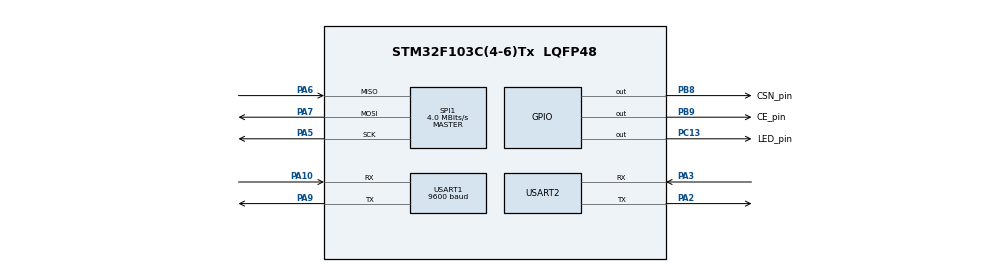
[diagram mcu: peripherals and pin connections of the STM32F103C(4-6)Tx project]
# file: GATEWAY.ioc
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Mcu.Family=STM32F1
Mcu.Name=STM32F103C(4-6)Tx
Mcu.Package=LQFP48
NVIC.PriorityGroup=NVIC_PRIORITYGROUP_4
NVIC.USART1_IRQn=true\:0\:0\:false\:false\:true\:true\:true\:true
PA10.Mode=Asynchronous
PA10.Signal=USART1_RX
PA2.Mode=Asynchronous
PA2.Signal=USART2_TX
PA3.Mode=Asynchronous
PA3.Signal=USART2_RX
PA5.Mode=Full_Duplex_Master
PA5.Signal=SPI1_SCK
PA6.Mode=Full_Duplex_Master
PA6.Signal=SPI1_MISO
PA7.Mode=Full_Duplex_Master
PA7.Signal=SPI1_MOSI
PA9.Mode=Asynchronous
PA9.Signal=USART1_TX
PB8.GPIO_Label=CSN_pin
PB8.Signal=GPIO_Output
PB9.GPIO_Label=CE_pin
PB9.Signal=GPIO_Output
PC13-TAMPER-RTC.GPIO_Label=LED_pin
PC13-TAMPER-RTC.Signal=GPIO_Output
ProjectManager.HeapSize=0x200
ProjectManager.StackSize=0x400
ProjectManager.TargetToolchain=STM32CubeIDE
RCC.APB1Freq_Value=8000000
RCC.APB2Freq_Value=8000000
SPI1.CalculateBaudRate=4.0 MBits/s
SPI1.Direction=SPI_DIRECTION_2LINES
SPI1.Mode=SPI_MODE_MASTER
SPI1.VirtualType=VM_MASTER
USART1.BaudRate=9600
USART1.VirtualMode=VM_ASYNC
USART2.VirtualMode=VM_ASYNC
board=custom

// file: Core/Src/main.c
/* USER CODE BEGIN Header */
//huart1 PA9,10is the debug port OF NRF, huart2 PA2,3is the server port
/**
 ******************************************************************************
 * @file           : main.c
 * @brief          : Main program body
 ******************************************************************************
 * @attention
 *
 * Copyright (c) 2023 STMicroelectronics.
 * All rights reserved.
 *
 * This software is licensed under terms that can be found in the LICENSE file
 * in the root directory of this software component.
 * If no LICENSE file comes with this software, it is provided AS-IS.
 *
 ******************************************************************************
 */
/* USER CODE END Header */
#include "main.h"

/* USER CODE BEGIN Includes */
#include "MY_NRF24.h"
#include "utility.h"
/* USER CODE END Includes */

SPI_HandleTypeDef hspi1;

UART_HandleTypeDef huart1;
UART_HandleTypeDef huart2;

void SystemClock_Config(void);
static void MX_GPIO_Init(void);
static void MX_SPI1_Init(void);
static void MX_USART2_UART_Init(void);
static void MX_USART1_UART_Init(void);
/* USER CODE BEGIN PFP */
void Gateway_NRF_Init(void);
void Switch_To_Tx_Mode(void);
void Switch_To_Rx_Mode(void);
void Transmit_Server_Msg_To_Node(void);
void Switch_to_Transmitt_mode(uint64_t);
void Transmitt_srvr_msg_to_node(void);
void Switch_to_Receiver_mode(void);
void process_received_data_from_node(void);
void process_data_rcvd_frm_srvr(void);
void check_id_for_tx_mode();
/* USER CODE END PFP */

/* USER CODE BEGIN 0 */
uint64_t pipe_addr = 0x11223344AA;
char received_data_from_nodes[50];
char trimmed_data_received_from_node[6];
char node_id[4];
char node_status[2];

//////**handle server**////////
uint8_t received_data_from_srvr[32];
uint64_t pip_add_for_data_tx;
char trimmed_data_rcvd_from_srvr[6];
char node_id_drom_srvr[4];
char node_status_from_srvr[2];
uint64_t n_add_1 = 0x11223344AB;
uint64_t n_add_2 = 0x11223344BB;
bool data_avlbl_frm_srvr = false;
uint8_t zunk_data[30];
/* USER CODE END 0 */

int main(void)
{

  /* MCU Configuration--------------------------------------------------------*/

  /* Reset of all peripherals, Initializes the Flash interface and the Systick. */
  HAL_Init();

  /* Configure the system clock */
  SystemClock_Config();

  /* Initialize all configured peripherals */
  MX_GPIO_Init();
  MX_SPI1_Init();
  MX_USART2_UART_Init();
  MX_USART1_UART_Init();
  /* USER CODE BEGIN 2 */
  Gateway_NRF_Init();
  HAL_UART_Receive_IT(&huart1, received_data_from_srvr, 5);
  /* USER CODE END 2 */

  /* Infinite loop */
  /* USER CODE BEGIN WHILE */
	HAL_GPIO_WritePin(GPIOC, GPIO_PIN_13, 1);
	while (1) {
    /* USER CODE END WHILE */

    /* USER CODE BEGIN 3 */
		if (NRF24_available()) {
			HAL_Delay(10);
			process_received_data_from_node();
			//and send data to server
			HAL_Delay(50);
		}
		if(data_avlbl_frm_srvr){

			HAL_UART_Receive_IT(&huart1, received_data_from_srvr, 5);
			//check the id, and pass pipe address to transmitt mode accordingly
			HAL_UART_Transmit(&huart2, (uint8_t*)"msg received from server ::> ", strlen("msg received from server ::> "), 10);
			HAL_UART_Transmit(&huart2, received_data_from_srvr, 32, 10);
			process_data_rcvd_frm_srvr();
			check_id_for_tx_mode();
			Switch_to_Transmitt_mode(pip_add_for_data_tx);
			Transmitt_srvr_msg_to_node();
			Switch_to_Receiver_mode();
			data_avlbl_frm_srvr = 0;
			memset(received_data_from_srvr, 0, sizeof(received_data_from_srvr));
		}
		HAL_GPIO_TogglePin(LED_pin_GPIO_Port, LED_pin_Pin);
		HAL_Delay(100);
	}
  /* USER CODE END 3 */
}

void SystemClock_Config(void)
{
  RCC_OscInitTypeDef RCC_OscInitStruct = {0};
  RCC_ClkInitTypeDef RCC_ClkInitStruct = {0};

  /** Initializes the RCC Oscillators according to the specified parameters
  * in the RCC_OscInitTypeDef structure.
  */
  RCC_OscInitStruct.OscillatorType = RCC_OSCILLATORTYPE_HSI;
  RCC_OscInitStruct.HSIState = RCC_HSI_ON;
  RCC_OscInitStruct.HSICalibrationValue = RCC_HSICALIBRATION_DEFAULT;
  RCC_OscInitStruct.PLL.PLLState = RCC_PLL_NONE;
  if (HAL_RCC_OscConfig(&RCC_OscInitStruct) != HAL_OK)
  {
    Error_Handler();
  }

  /** Initializes the CPU, AHB and APB buses clocks
  */
  RCC_ClkInitStruct.ClockType = RCC_CLOCKTYPE_HCLK|RCC_CLOCKTYPE_SYSCLK
                              |RCC_CLOCKTYPE_PCLK1|RCC_CLOCKTYPE_PCLK2;
  RCC_ClkInitStruct.SYSCLKSource = RCC_SYSCLKSOURCE_HSI;
  RCC_ClkInitStruct.AHBCLKDivider = RCC_SYSCLK_DIV1;
  RCC_ClkInitStruct.APB1CLKDivider = RCC_HCLK_DIV1;
  RCC_ClkInitStruct.APB2CLKDivider = RCC_HCLK_DIV1;

  if (HAL_RCC_ClockConfig(&RCC_ClkInitStruct, FLASH_LATENCY_0) != HAL_OK)
  {
    Error_Handler();
  }
}

static void MX_SPI1_Init(void)
{

  /* SPI1 parameter configuration*/
  hspi1.Instance = SPI1;
  hspi1.Init.Mode = SPI_MODE_MASTER;
  hspi1.Init.Direction = SPI_DIRECTION_2LINES;
  hspi1.Init.DataSize = SPI_DATASIZE_8BIT;
  hspi1.Init.CLKPolarity = SPI_POLARITY_LOW;
  hspi1.Init.CLKPhase = SPI_PHASE_1EDGE;
  hspi1.Init.NSS = SPI_NSS_SOFT;
  hspi1.Init.BaudRatePrescaler = SPI_BAUDRATEPRESCALER_2;
  hspi1.Init.FirstBit = SPI_FIRSTBIT_MSB;
  hspi1.Init.TIMode = SPI_TIMODE_DISABLE;
  hspi1.Init.CRCCalculation = SPI_CRCCALCULATION_DISABLE;
  hspi1.Init.CRCPolynomial = 10;
  if (HAL_SPI_Init(&hspi1) != HAL_OK)
  {
    Error_Handler();
  }

}

static void MX_USART1_UART_Init(void)
{

  huart1.Instance = USART1;
  huart1.Init.BaudRate = 9600;
  huart1.Init.WordLength = UART_WORDLENGTH_8B;
  huart1.Init.StopBits = UART_STOPBITS_1;
  huart1.Init.Parity = UART_PARITY_NONE;
  huart1.Init.Mode = UART_MODE_TX_RX;
  huart1.Init.HwFlowCtl = UART_HWCONTROL_NONE;
  huart1.Init.OverSampling = UART_OVERSAMPLING_16;
  if (HAL_UART_Init(&huart1) != HAL_OK)
  {
    Error_Handler();
  }

}

static void MX_USART2_UART_Init(void)
{

  huart2.Instance = USART2;
  huart2.Init.BaudRate = 115200;
  huart2.Init.WordLength = UART_WORDLENGTH_8B;
  huart2.Init.StopBits = UART_STOPBITS_1;
  huart2.Init.Parity = UART_PARITY_NONE;
  huart2.Init.Mode = UART_MODE_TX_RX;
  huart2.Init.HwFlowCtl = UART_HWCONTROL_NONE;
  huart2.Init.OverSampling = UART_OVERSAMPLING_16;
  if (HAL_UART_Init(&huart2) != HAL_OK)
  {
    Error_Handler();
  }

}

static void MX_GPIO_Init(void)
{
  GPIO_InitTypeDef GPIO_InitStruct = {0};

  /* GPIO Ports Clock Enable */
  __HAL_RCC_GPIOC_CLK_ENABLE();
  __HAL_RCC_GPIOA_CLK_ENABLE();
  __HAL_RCC_GPIOB_CLK_ENABLE();

  /*Configure GPIO pin Output Level */
  HAL_GPIO_WritePin(LED_pin_GPIO_Port, LED_pin_Pin, GPIO_PIN_RESET);

  /*Configure GPIO pin Output Level */
  HAL_GPIO_WritePin(GPIOB, CSN_pin_Pin|CE_pin_Pin, GPIO_PIN_RESET);

  /*Configure GPIO pin : LED_pin_Pin */
  GPIO_InitStruct.Pin = LED_pin_Pin;
  GPIO_InitStruct.Mode = GPIO_MODE_OUTPUT_PP;
  GPIO_InitStruct.Pull = GPIO_NOPULL;
  GPIO_InitStruct.Speed = GPIO_SPEED_FREQ_LOW;
  HAL_GPIO_Init(LED_pin_GPIO_Port, &GPIO_InitStruct);

  /*Configure GPIO pins : CSN_pin_Pin CE_pin_Pin */
  GPIO_InitStruct.Pin = CSN_pin_Pin|CE_pin_Pin;
  GPIO_InitStruct.Mode = GPIO_MODE_OUTPUT_PP;
  GPIO_InitStruct.Pull = GPIO_NOPULL;
  GPIO_InitStruct.Speed = GPIO_SPEED_FREQ_LOW;
  HAL_GPIO_Init(GPIOB, &GPIO_InitStruct);

}

/* USER CODE BEGIN 4 */
void HAL_UART_RxCpltCallback(UART_HandleTypeDef *huart)
{
  /* Prevent unused argument(s) compilation warning */
  UNUSED(huart);
  /* NOTE: This function should not be modified, when the callback is needed,
           the HAL_UART_RxCpltCallback could be implemented in the user file
   */
   data_avlbl_frm_srvr = 1;
   HAL_UART_Receive_IT(&huart1, received_data_from_srvr, 5);
   HAL_UART_Transmit(&huart2, (uint8_t*)"\n CALL BACK TRIGGERED", strlen("\n CALL BACK TRIGGERED"), 10);
}
void Switch_to_Transmitt_mode(uint64_t pipe_addr_for_tx_mod){
    NRF24_stopListening();
    NRF24_openWritingPipe(pipe_addr_for_tx_mod);
    NRF24_setChannel(52);
}
void Transmitt_srvr_msg_to_node(){
	//uint8_t msg_to_node[32] = "001,0";
for(int i = 0; i<= 10; i++){
	if(!NRF24_write(received_data_from_srvr,32)){
		  NRF24_write(received_data_from_srvr,32);
		  HAL_UART_Transmit(&huart2, (uint8_t *)"Transmitt to node waiting for ack\n", strlen("Transmitt to node waiting for ack\n"),10);
		  HAL_Delay(400);
		  }
	else{
		  HAL_UART_Transmit(&huart2, (uint8_t *)"Transmitt to node Transmitted successfully\n", strlen("Transmitt to node Transmitted successfully\n"),10);
	      HAL_Delay(100);
		  break;
	}
	}
}
void Switch_to_Receiver_mode(void){
NRF24_setChannel(52);
NRF24_openReadingPipe(1, pipe_addr);
NRF24_startListening();
}
void Gateway_NRF_Init(void){
NRF24_begin(CE_pin_GPIO_Port, CSN_pin_Pin, CE_pin_Pin, hspi1);
nrf24_DebugUART_Init(huart2);

NRF24_setAutoAck(true);
NRF24_setChannel(52);
NRF24_setPayloadSize(32);
NRF24_openReadingPipe(1, pipe_addr);
NRF24_startListening();
printRadioSettings();
}
void process_received_data_from_node(void){
	NRF24_read(received_data_from_nodes, 32); //store received data
	received_data_from_nodes[31] = '\r'; //add \n in the data
	received_data_from_nodes[32] = '\n'; //add \n in the data
	//trim message to 6 char and send it to server
	memcpy(trimmed_data_received_from_node,&received_data_from_nodes,5);
	//send data to debug port
	HAL_UART_Transmit(&huart2, (uint8_t*) trimmed_data_received_from_node, 5,10); //send data to debug port
	HAL_UART_Transmit(&huart1, (uint8_t*) trimmed_data_received_from_node, 5,10); //send data to debug port
}
void process_data_rcvd_frm_srvr(void){
	memcpy(trimmed_data_rcvd_from_srvr,&received_data_from_srvr,4);
	memcpy(node_id_drom_srvr,&trimmed_data_rcvd_from_srvr,3);
	node_status_from_srvr[0] =  trimmed_data_rcvd_from_srvr[4];
}
void check_id_for_tx_mode(){
HAL_GPIO_TogglePin(LED_pin_GPIO_Port, LED_pin_Pin);
if((strcmp((char*) node_id_drom_srvr, "001") == 0)){
	pip_add_for_data_tx = n_add_1;
}
if((strcmp((char*) node_id_drom_srvr, "002") == 0)){
	pip_add_for_data_tx = n_add_2;
}
}
/* USER CODE END 4 */

void Error_Handler(void)
{
  /* USER CODE BEGIN Error_Handler_Debug */
	/* User can add his own implementation to report the HAL error return state */
	__disable_irq();
	while (1) {
		HAL_GPIO_TogglePin(LED_pin_GPIO_Port, LED_pin_Pin);
		HAL_Delay(1000);
	}
  /* USER CODE END Error_Handler_Debug */
}
